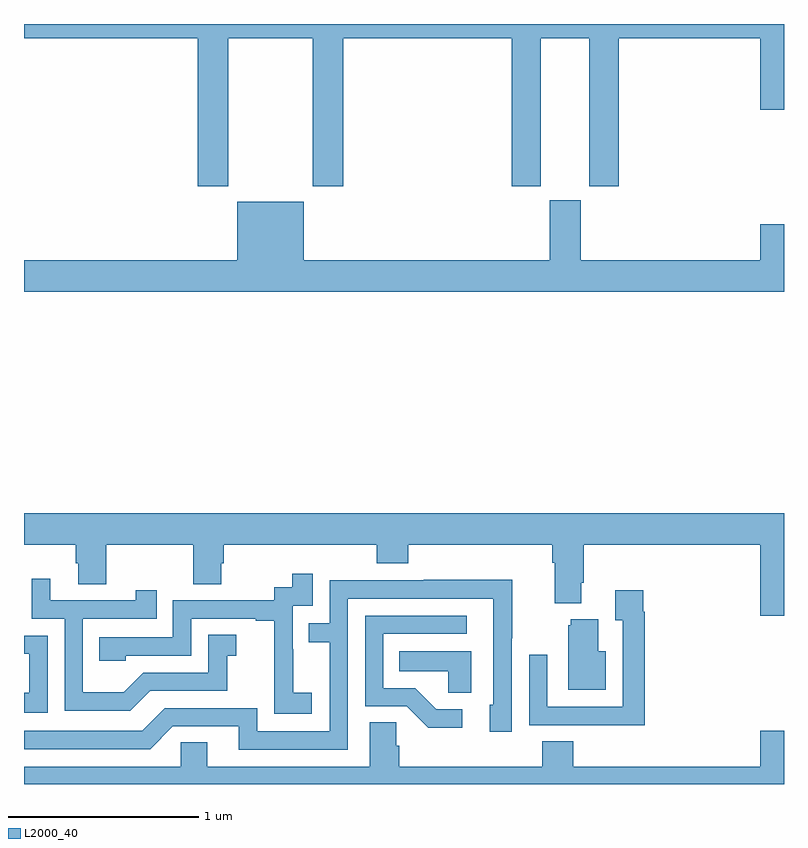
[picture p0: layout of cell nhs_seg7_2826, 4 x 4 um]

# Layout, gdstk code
import gdstk
lib = gdstk.Library(unit=1e-6, precision=1e-09)
def P(c, l, *ps):  # polygons
    for p in ps: c.add(gdstk.Polygon(p, *l))
L2000_40 = (2000, 40)

nhs_seg7_2826 = lib.new_cell('nhs_seg7_2826')
P(nhs_seg7_2826, L2000_40, [(294.075,1025.924),(294.52,1025.924),(294.52,1025.145),(294.68,1025.145),(294.68,1025.924),(295.568,1025.924),(295.568,1025.145),(295.72,1025.145),(295.72,1025.924),(295.976,1025.924),(295.976,1025.145),(296.129,1025.145),(296.129,1025.924),(296.876,1025.924),(296.876,1025.55),(297,1025.55),(297,1026),(293,1026),(293,1025.924),(293.915,1025.924),(293.915,1025.145),(294.075,1025.145)],
  [(297,1024.945),(296.876,1024.945),(296.876,1024.756),(295.93,1024.756),(295.93,1025.073),(295.766,1025.073),(295.766,1024.756),(294.472,1024.756),(294.472,1025.065),(294.122,1025.065),(294.122,1024.756),(293,1024.756),(293,1024.592),(297,1024.592)],
  [(293,1023.26),(293.273,1023.26),(293.273,1023.162),(293.285,1023.162),(293.285,1023.052),(293.433,1023.052),(293.433,1023.26),(293.89,1023.26),(293.89,1023.052),(294.037,1023.052),(294.037,1023.162),(294.05,1023.162),(294.05,1023.26),(294.857,1023.26),(294.857,1023.161),(295.022,1023.161),(295.022,1023.26),(295.781,1023.26),(295.781,1023.164),(295.793,1023.164),(295.793,1022.951),(295.933,1022.951),(295.933,1023.058),(295.946,1023.058),(295.946,1023.26),(296.876,1023.26),(296.876,1022.886),(297,1022.886),(297,1023.424),(293,1023.424)],
  [(294.514,1022.479),(294.416,1022.479),(294.416,1022.708),(294.414,1022.708),(294.414,1022.937),(294.519,1022.937),(294.519,1023.106),(294.411,1023.106),(294.411,1023.036),(294.318,1023.036),(294.318,1022.967),(293.784,1022.967),(293.784,1022.772),(293.395,1022.772),(293.395,1022.649),(293.535,1022.649),(293.535,1022.676),(293.88,1022.676),(293.88,1022.871),(294.221,1022.871),(294.221,1022.859),(294.317,1022.859),(294.317,1022.575),(294.316,1022.575),(294.316,1022.369),(294.514,1022.369)],
  [(293.665,1022.49),(294.069,1022.49),(294.069,1022.675),(294.118,1022.675),(294.118,1022.785),(293.97,1022.785),(293.97,1022.586),(293.628,1022.586),(293.524,1022.482),(293.31,1022.482),(293.31,1022.871),(293.699,1022.871),(293.699,1023.019),(293.588,1023.019),(293.588,1022.967),(293.137,1022.967),(293.137,1023.079),(293.04,1023.079),(293.04,1022.871),(293.214,1022.871),(293.214,1022.385),(293.56,1022.385)],
  [(294.705,1022.976),(295.47,1022.976),(295.47,1022.418),(295.451,1022.418),(295.451,1022.274),(295.566,1022.274),(295.566,1022.767),(295.569,1022.767),(295.569,1023.074),(295.105,1023.074),(295.105,1023.072),(294.609,1023.072),(294.609,1022.847),(294.499,1022.847),(294.499,1022.746),(294.609,1022.746),(294.609,1022.277),(294.228,1022.277),(294.228,1022.4),(293.742,1022.4),(293.622,1022.28),(293,1022.28),(293,1022.184),(293.664,1022.184),(293.784,1022.304),(294.131,1022.304),(294.131,1022.181),(294.705,1022.181)],
  [(296.267,1022.906),(296.26,1022.906),(296.26,1023.019),(296.111,1023.019),(296.111,1022.863),(296.151,1022.863),(296.151,1022.406),(295.755,1022.406),(295.755,1022.68),(295.659,1022.68),(295.659,1022.31),(295.975,1022.31),(295.975,1022.309),(296.267,1022.309)],
  [(295.306,1022.394),(295.171,1022.394),(295.06,1022.505),(294.891,1022.505),(294.891,1022.79),(295.33,1022.79),(295.33,1022.886),(294.795,1022.886),(294.795,1022.409),(295.014,1022.409),(295.127,1022.297),(295.306,1022.297)],
  [(296.062,1022.698),(296.023,1022.698),(296.023,1022.866),(295.877,1022.866),(295.877,1022.835),(295.865,1022.835),(295.865,1022.495),(296.062,1022.495)],
  [(293.124,1022.781),(293,1022.781),(293,1022.685),(293.027,1022.685),(293.027,1022.481),(293,1022.481),(293,1022.376),(293.124,1022.376)],
  [(295.354,1022.698),(294.976,1022.698),(294.976,1022.594),(295.233,1022.594),(295.233,1022.479),(295.354,1022.479)],
  [(297,1022.281),(296.876,1022.281),(296.876,1022.092),(295.892,1022.092),(295.892,1022.225),(295.727,1022.225),(295.727,1022.092),(294.974,1022.092),(294.974,1022.201),(294.96,1022.201),(294.96,1022.324),(294.821,1022.324),(294.821,1022.092),(293.965,1022.092),(293.965,1022.219),(293.826,1022.219),(293.826,1022.092),(293,1022.092),(293,1022),(297,1022)])

lib.write_gds('nhs_seg7_2826.gds')
